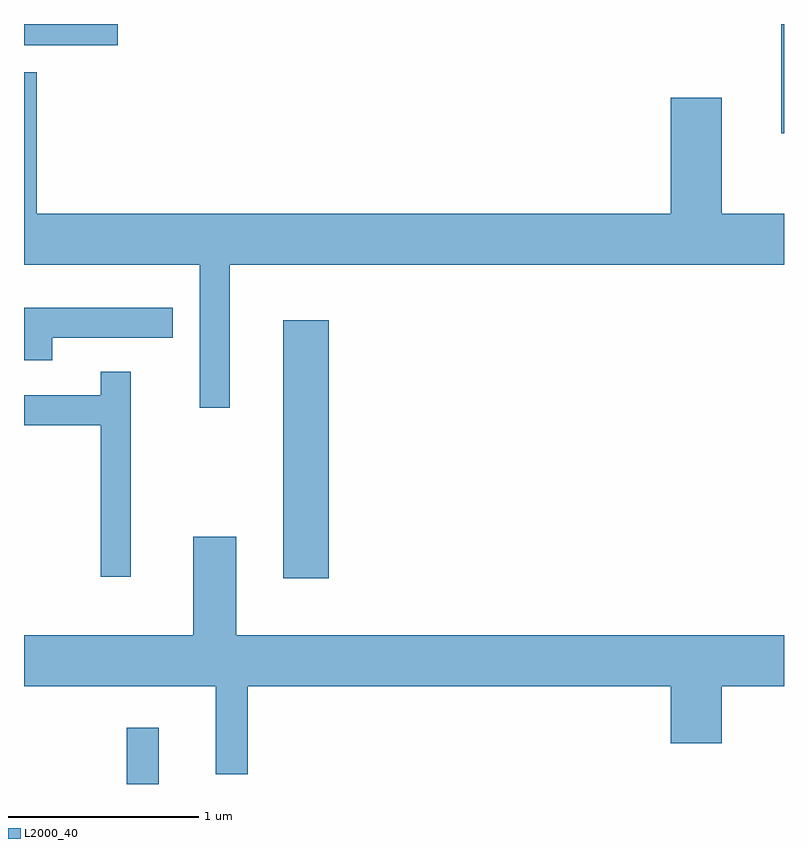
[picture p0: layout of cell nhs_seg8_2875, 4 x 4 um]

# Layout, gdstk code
import gdstk
lib = gdstk.Library(unit=1e-6, precision=1e-09)
def R(c, l, rs):  # rectangles x0, y0, x1, y1
    for r in rs: c.add(gdstk.rectangle(r[:2], r[2:], *l))
def P(c, l, *ps):  # polygons
    for p in ps: c.add(gdstk.Polygon(p, *l))
L2000_40 = (2000, 40)

nhs_seg8_2875 = lib.new_cell('nhs_seg8_2875')
R(nhs_seg8_2875, L2000_40, [(272.151,1840.342,272.319,1840.638), (272.976,1841.426,273.214,1842.784), (275.596,1843.766,275.611,1844.342), (271.611,1844.231,272.104,1844.342)])
P(nhs_seg8_2875, L2000_40, [(272.694,1843.076),(275.611,1843.076),(275.611,1843.344),(275.284,1843.344),(275.284,1843.954),(275.016,1843.954),(275.016,1843.344),(271.679,1843.344),(271.679,1844.088),(271.611,1844.088),(271.611,1843.076),(272.536,1843.076),(272.536,1842.323),(272.694,1842.323)],
  [(271.759,1842.691),(272.393,1842.691),(272.393,1842.849),(271.611,1842.849),(271.611,1842.571),(271.759,1842.571)],
  [(272.174,1842.513),(272.016,1842.513),(272.016,1842.389),(271.611,1842.389),(271.611,1842.231),(272.016,1842.231),(272.016,1841.433),(272.174,1841.433)],
  [(272.789,1840.856),(275.016,1840.856),(275.016,1840.556),(275.284,1840.556),(275.284,1840.856),(275.611,1840.856),(275.611,1841.124),(272.729,1841.124),(272.729,1841.644),(272.501,1841.644),(272.501,1841.124),(271.611,1841.124),(271.611,1840.856),(272.621,1840.856),(272.621,1840.393),(272.789,1840.393)])

lib.write_gds('nhs_seg8_2875.gds')
